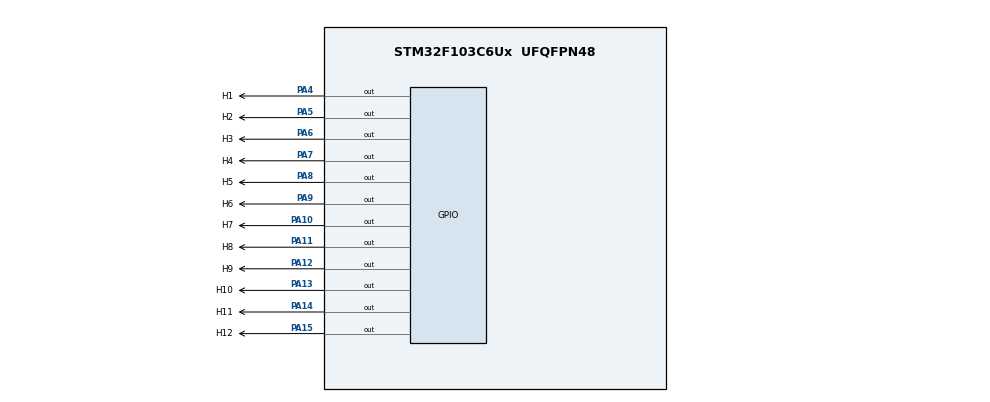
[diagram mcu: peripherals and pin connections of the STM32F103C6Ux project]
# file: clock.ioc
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Mcu.Family=STM32F1
Mcu.Name=STM32F103C6Ux
Mcu.Package=UFQFPN48
NVIC.PriorityGroup=NVIC_PRIORITYGROUP_4
PA10.GPIO_Label=H7
PA10.Signal=GPIO_Output
PA11.GPIO_Label=H8
PA11.Signal=GPIO_Output
PA12.GPIO_Label=H9
PA12.Signal=GPIO_Output
PA13.GPIO_Label=H10
PA13.Signal=GPIO_Output
PA14.GPIO_Label=H11
PA14.Signal=GPIO_Output
PA15.GPIO_Label=H12
PA15.Signal=GPIO_Output
PA4.GPIO_Label=H1
PA4.Signal=GPIO_Output
PA5.GPIO_Label=H2
PA5.Signal=GPIO_Output
PA6.GPIO_Label=H3
PA6.Signal=GPIO_Output
PA7.GPIO_Label=H4
PA7.Signal=GPIO_Output
PA8.GPIO_Label=H5
PA8.Signal=GPIO_Output
PA9.GPIO_Label=H6
PA9.Signal=GPIO_Output
ProjectManager.HeapSize=0x200
ProjectManager.StackSize=0x400
ProjectManager.TargetToolchain=STM32CubeIDE
RCC.APB1Freq_Value=8000000
RCC.APB2Freq_Value=8000000
VP_SYS_VS_ND.Mode=No_Debug
board=custom

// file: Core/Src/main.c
/* USER CODE BEGIN Header */
/**
  ******************************************************************************
  * @file           : main.c
  * @brief          : Main program body
  ******************************************************************************
  * @attention
  *
  * <h2><center>&copy; Copyright (c) 2026 STMicroelectronics.
  * All rights reserved.</center></h2>
  *
  * This software component is licensed by ST under BSD 3-Clause license,
  * the "License"; You may not use this file except in compliance with the
  * License. You may obtain a copy of the License at:
  *                        opensource.org/licenses/BSD-3-Clause
  *
  ******************************************************************************
  */
/* USER CODE END Header */
#include "main.h"

void SystemClock_Config(void);
static void MX_GPIO_Init(void);

/* USER CODE BEGIN 0 */
void clearAllClock(){
	  HAL_GPIO_WritePin(H1_GPIO_Port, H1_Pin,GPIO_PIN_SET);
	  HAL_GPIO_WritePin(H2_GPIO_Port, H2_Pin,GPIO_PIN_SET);
	  HAL_GPIO_WritePin(H3_GPIO_Port, H3_Pin,GPIO_PIN_SET);
	  HAL_GPIO_WritePin(H4_GPIO_Port, H4_Pin,GPIO_PIN_SET);
	  HAL_GPIO_WritePin(H5_GPIO_Port, H5_Pin,GPIO_PIN_SET);
	  HAL_GPIO_WritePin(H6_GPIO_Port, H6_Pin,GPIO_PIN_SET);
	  HAL_GPIO_WritePin(H7_GPIO_Port, H7_Pin,GPIO_PIN_SET);
	  HAL_GPIO_WritePin(H8_GPIO_Port, H8_Pin,GPIO_PIN_SET);
	  HAL_GPIO_WritePin(H9_GPIO_Port, H9_Pin,GPIO_PIN_SET);
	  HAL_GPIO_WritePin(H10_GPIO_Port, H10_Pin,GPIO_PIN_SET);
	  HAL_GPIO_WritePin(H11_GPIO_Port, H11_Pin,GPIO_PIN_SET);
	  HAL_GPIO_WritePin(H12_GPIO_Port, H12_Pin,GPIO_PIN_SET);
}

void setNumberOnClock(int num){
	switch (num) {

	        case 1:
	            HAL_GPIO_WritePin(H1_GPIO_Port, H1_Pin, GPIO_PIN_RESET);
	            break;
	        case 2:
	            HAL_GPIO_WritePin(H2_GPIO_Port, H2_Pin, GPIO_PIN_RESET);
	            break;
	        case 3:
	            HAL_GPIO_WritePin(H3_GPIO_Port, H3_Pin, GPIO_PIN_RESET);
	            break;
	        case 4:
	            HAL_GPIO_WritePin(H4_GPIO_Port, H4_Pin, GPIO_PIN_RESET);
	            break;
	        case 5:
	            HAL_GPIO_WritePin(H5_GPIO_Port, H5_Pin, GPIO_PIN_RESET);
	            break;
	        case 6:
	            HAL_GPIO_WritePin(H6_GPIO_Port, H6_Pin, GPIO_PIN_RESET);
	            break;
	        case 7:
	            HAL_GPIO_WritePin(H7_GPIO_Port, H7_Pin, GPIO_PIN_RESET);
	            break;
	        case 8:
	            HAL_GPIO_WritePin(H8_GPIO_Port, H8_Pin, GPIO_PIN_RESET);
	            break;
	        case 9:
	            HAL_GPIO_WritePin(H9_GPIO_Port, H9_Pin, GPIO_PIN_RESET);
	            break;
	        case 10:
	            HAL_GPIO_WritePin(H10_GPIO_Port, H10_Pin, GPIO_PIN_RESET);
	            break;
	        case 11:
	            HAL_GPIO_WritePin(H11_GPIO_Port, H11_Pin, GPIO_PIN_RESET);
	            break;
	        case 0:
	            HAL_GPIO_WritePin(H12_GPIO_Port, H12_Pin, GPIO_PIN_RESET);
	            break;
	        default:
	            break;
	    }
}

void clearNumberOnClock(int num) {
    switch (num) {
        case 1:
            HAL_GPIO_WritePin(H1_GPIO_Port, H1_Pin, GPIO_PIN_SET);
            break;
        case 2:
            HAL_GPIO_WritePin(H2_GPIO_Port, H2_Pin, GPIO_PIN_SET);
            break;
        case 3:
            HAL_GPIO_WritePin(H3_GPIO_Port, H3_Pin, GPIO_PIN_SET);
            break;
        case 4:
            HAL_GPIO_WritePin(H4_GPIO_Port, H4_Pin, GPIO_PIN_SET);
            break;
        case 5:
            HAL_GPIO_WritePin(H5_GPIO_Port, H5_Pin, GPIO_PIN_SET);
            break;
        case 6:
            HAL_GPIO_WritePin(H6_GPIO_Port, H6_Pin, GPIO_PIN_SET);
            break;
        case 7:
            HAL_GPIO_WritePin(H7_GPIO_Port, H7_Pin, GPIO_PIN_SET);
            break;
        case 8:
            HAL_GPIO_WritePin(H8_GPIO_Port, H8_Pin, GPIO_PIN_SET);
            break;
        case 9:
            HAL_GPIO_WritePin(H9_GPIO_Port, H9_Pin, GPIO_PIN_SET);
            break;
        case 10:
            HAL_GPIO_WritePin(H10_GPIO_Port, H10_Pin, GPIO_PIN_SET);
            break;
        case 11:
            HAL_GPIO_WritePin(H11_GPIO_Port, H11_Pin, GPIO_PIN_SET);
            break;
        case 0:
            HAL_GPIO_WritePin(H12_GPIO_Port, H12_Pin, GPIO_PIN_SET);
            break;
        default:
            break;
    }
}
/* USER CODE END 0 */

int main(void)
{

  /* MCU Configuration--------------------------------------------------------*/

  /* Reset of all peripherals, Initializes the Flash interface and the Systick. */
  HAL_Init();

  /* Configure the system clock */
  SystemClock_Config();

  /* Initialize all configured peripherals */
  MX_GPIO_Init();
  /* USER CODE BEGIN 2 */
  clearAllClock();
  /* USER CODE END 2 */

  /* Infinite loop */
  while (1)
  {
	  HAL_GPIO_WritePin(H1_GPIO_Port, H1_Pin, GPIO_PIN_RESET);
	  	        HAL_Delay(1000);
	  	        HAL_GPIO_WritePin(H1_GPIO_Port, H1_Pin, GPIO_PIN_SET);

	  	        HAL_GPIO_WritePin(H2_GPIO_Port, H2_Pin, GPIO_PIN_RESET);
	  	        HAL_Delay(1000);
	  	        HAL_GPIO_WritePin(H2_GPIO_Port, H2_Pin, GPIO_PIN_SET);

	  	        HAL_GPIO_WritePin(H3_GPIO_Port, H3_Pin, GPIO_PIN_RESET);
	  	        HAL_Delay(1000);
	  	        HAL_GPIO_WritePin(H3_GPIO_Port, H3_Pin, GPIO_PIN_SET);

	  	        HAL_GPIO_WritePin(H4_GPIO_Port, H4_Pin, GPIO_PIN_RESET);
	  	        HAL_Delay(1000);
	  	        HAL_GPIO_WritePin(H4_GPIO_Port, H4_Pin, GPIO_PIN_SET);

	  	        HAL_GPIO_WritePin(H5_GPIO_Port, H5_Pin, GPIO_PIN_RESET);
	  	        HAL_Delay(1000);
	  	        HAL_GPIO_WritePin(H5_GPIO_Port, H5_Pin, GPIO_PIN_SET);

	  	        HAL_GPIO_WritePin(H6_GPIO_Port, H6_Pin, GPIO_PIN_RESET);
	  	        HAL_Delay(1000);
	  	        HAL_GPIO_WritePin(H6_GPIO_Port, H6_Pin, GPIO_PIN_SET);

	  	        HAL_GPIO_WritePin(H7_GPIO_Port, H7_Pin, GPIO_PIN_RESET);
	  	        HAL_Delay(1000);
	  	        HAL_GPIO_WritePin(H7_GPIO_Port, H7_Pin, GPIO_PIN_SET);

	  	        HAL_GPIO_WritePin(H8_GPIO_Port, H8_Pin, GPIO_PIN_RESET);
	  	        HAL_Delay(1000);
	  	        HAL_GPIO_WritePin(H8_GPIO_Port, H8_Pin, GPIO_PIN_SET);

	  	        HAL_GPIO_WritePin(H9_GPIO_Port, H9_Pin, GPIO_PIN_RESET);
	  	        HAL_Delay(1000);
	  	        HAL_GPIO_WritePin(H9_GPIO_Port, H9_Pin, GPIO_PIN_SET);

	  	        HAL_GPIO_WritePin(H10_GPIO_Port, H10_Pin, GPIO_PIN_RESET);
	  	        HAL_Delay(1000);
	  	        HAL_GPIO_WritePin(H10_GPIO_Port, H10_Pin, GPIO_PIN_SET);

	  	        HAL_GPIO_WritePin(H11_GPIO_Port, H11_Pin, GPIO_PIN_RESET);
	  	        HAL_Delay(1000);
	  	        HAL_GPIO_WritePin(H11_GPIO_Port, H11_Pin, GPIO_PIN_SET);

	  	        HAL_GPIO_WritePin(H12_GPIO_Port, H12_Pin, GPIO_PIN_RESET);
	  	        HAL_Delay(1000);
	  	        HAL_GPIO_WritePin(H12_GPIO_Port, H12_Pin, GPIO_PIN_SET);

  }
}

void SystemClock_Config(void)
{
  RCC_OscInitTypeDef RCC_OscInitStruct = {0};
  RCC_ClkInitTypeDef RCC_ClkInitStruct = {0};

  /** Initializes the RCC Oscillators according to the specified parameters
  * in the RCC_OscInitTypeDef structure.
  */
  RCC_OscInitStruct.OscillatorType = RCC_OSCILLATORTYPE_HSI;
  RCC_OscInitStruct.HSIState = RCC_HSI_ON;
  RCC_OscInitStruct.HSICalibrationValue = RCC_HSICALIBRATION_DEFAULT;
  RCC_OscInitStruct.PLL.PLLState = RCC_PLL_NONE;
  if (HAL_RCC_OscConfig(&RCC_OscInitStruct) != HAL_OK)
  {
    Error_Handler();
  }
  /** Initializes the CPU, AHB and APB buses clocks
  */
  RCC_ClkInitStruct.ClockType = RCC_CLOCKTYPE_HCLK|RCC_CLOCKTYPE_SYSCLK
                              |RCC_CLOCKTYPE_PCLK1|RCC_CLOCKTYPE_PCLK2;
  RCC_ClkInitStruct.SYSCLKSource = RCC_SYSCLKSOURCE_HSI;
  RCC_ClkInitStruct.AHBCLKDivider = RCC_SYSCLK_DIV1;
  RCC_ClkInitStruct.APB1CLKDivider = RCC_HCLK_DIV1;
  RCC_ClkInitStruct.APB2CLKDivider = RCC_HCLK_DIV1;

  if (HAL_RCC_ClockConfig(&RCC_ClkInitStruct, FLASH_LATENCY_0) != HAL_OK)
  {
    Error_Handler();
  }
}

static void MX_GPIO_Init(void)
{
  GPIO_InitTypeDef GPIO_InitStruct = {0};

  /* GPIO Ports Clock Enable */
  __HAL_RCC_GPIOA_CLK_ENABLE();

  /*Configure GPIO pin Output Level */
  HAL_GPIO_WritePin(GPIOA, H1_Pin|H2_Pin|H3_Pin|H4_Pin
                          |H5_Pin|H6_Pin|H7_Pin|H8_Pin
                          |H9_Pin|H10_Pin|H11_Pin|H12_Pin, GPIO_PIN_RESET);

  /*Configure GPIO pins : H1_Pin H2_Pin H3_Pin H4_Pin
                           H5_Pin H6_Pin H7_Pin H8_Pin
                           H9_Pin H10_Pin H11_Pin H12_Pin */
  GPIO_InitStruct.Pin = H1_Pin|H2_Pin|H3_Pin|H4_Pin
                          |H5_Pin|H6_Pin|H7_Pin|H8_Pin
                          |H9_Pin|H10_Pin|H11_Pin|H12_Pin;
  GPIO_InitStruct.Mode = GPIO_MODE_OUTPUT_PP;
  GPIO_InitStruct.Pull = GPIO_NOPULL;
  GPIO_InitStruct.Speed = GPIO_SPEED_FREQ_LOW;
  HAL_GPIO_Init(GPIOA, &GPIO_InitStruct);

}

void Error_Handler(void)
{
  __disable_irq();
  while (1)
  {
  }
}

/************************ (C) COPYRIGHT STMicroelectronics *****END OF FILE****/
